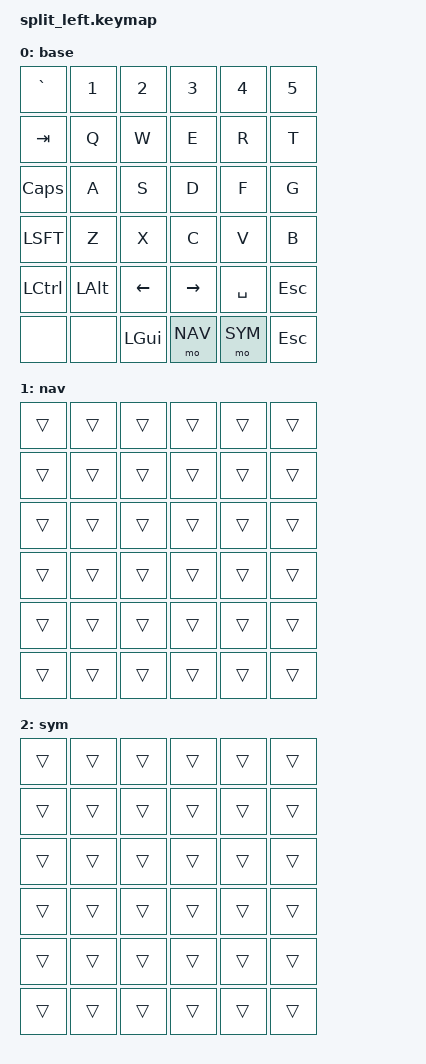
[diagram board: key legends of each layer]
/* config/boards/shields/split_left.keymap */

#include <dt-bindings/zmk/bt.h>

/ {
    keymap {
        compatible = "zmk,keymap";
        layers = <&base &nav &sym>;

        base {
            bindings = <
                /* R0 (D4–D21: C0…C5) */
                &kp GRAVE  &kp N1     &kp N2     &kp N3     &kp N4     &kp N5
                /* R1 */
                &kp TAB    &kp Q      &kp W      &kp E      &kp R      &kp T
                /* R2 */
                &kp CAPS   &kp A      &kp S      &kp D      &kp F      &kp G
                /* R3 */
                &kp LSFT   &kp Z      &kp X      &kp C      &kp V      &kp B
                /* R4 */
                &kp LCTRL  &kp LALT   &kp LEFT   &kp RIGHT  &kp SPACE  &kp ESC
                /* R5 (thumb, C0–C5) */
                &none      &none      &kp LGUI   &mo NAV    &mo SYM    &kp ESC
                /*           ↑         ↑         ↑         ↑         ↑
                            C0=NC     C1=NC     C2=App     C3=Nav     C4=Sym     C5=Esc */
            >;
        };

        nav {
            bindings = <
                &trans &trans &trans &trans &trans &trans
                &trans &trans &trans &trans &trans &trans
                &trans &trans &trans &trans &trans &trans
                &trans &trans &trans &trans &trans &trans
                &trans &trans &trans &trans &trans &trans
                &trans &trans &trans &trans &trans &trans
            >;
        };

        sym {
            bindings = <
                &trans &trans &trans &trans &trans &trans
                &trans &trans &trans &trans &trans &trans
                &trans &trans &trans &trans &trans &trans
                &trans &trans &trans &trans &trans &trans
                &trans &trans &trans &trans &trans &trans
                &trans &trans &trans &trans &trans &trans
            >;
        };
    };
};
